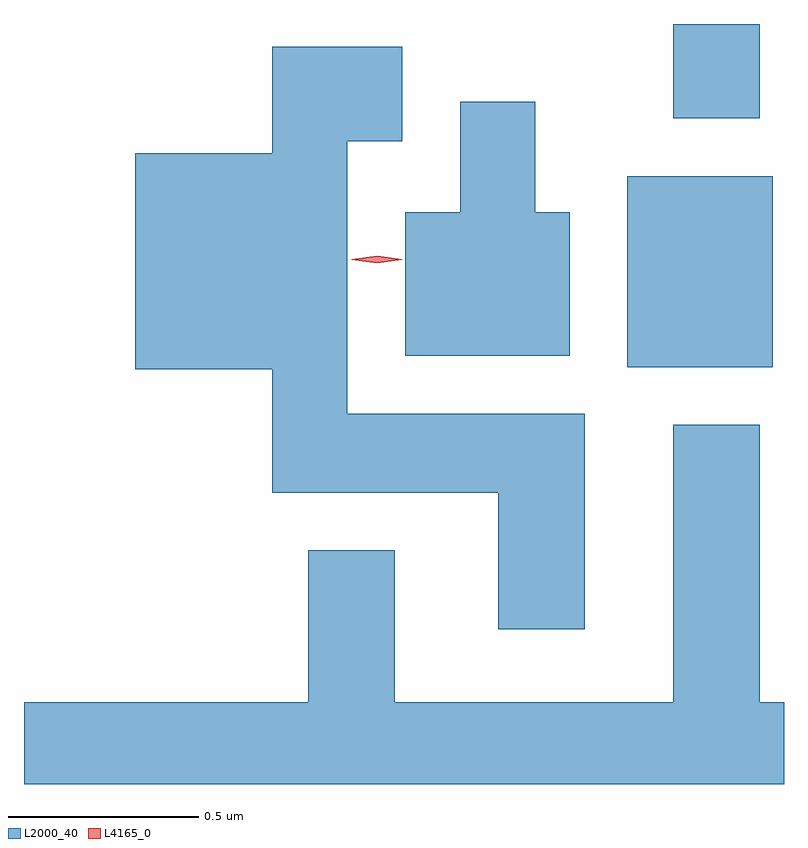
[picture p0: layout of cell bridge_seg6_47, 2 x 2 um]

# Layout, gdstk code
import gdstk
lib = gdstk.Library(unit=1e-6, precision=1e-09)
def R(c, l, rs):  # rectangles x0, y0, x1, y1
    for r in rs: c.add(gdstk.rectangle(r[:2], r[2:], *l))
def P(c, l, *ps):  # polygons
    for p in ps: c.add(gdstk.Polygon(p, *l))
L2000_40 = (2000, 40)
L4165_0 = (4165, 0)

bridge_seg6_47 = lib.new_cell('bridge_seg6_47')
R(bridge_seg6_47, L2000_40, [(1488.291,1644.426,1488.674,1644.929), (1488.411,1645.081,1488.639,1645.329)])
P(bridge_seg6_47, L2000_40, [(1488.179,1644.304),(1487.554,1644.304),(1487.554,1645.021),(1487.699,1645.021),(1487.699,1645.269),(1487.356,1645.269),(1487.356,1644.989),(1486.996,1644.989),(1486.996,1644.421),(1487.356,1644.421),(1487.356,1644.096),(1487.951,1644.096),(1487.951,1643.736),(1488.179,1643.736)],
  [(1488.139,1644.834),(1488.049,1644.834),(1488.049,1645.124),(1487.851,1645.124),(1487.851,1644.834),(1487.706,1644.834),(1487.706,1644.456),(1488.139,1644.456)],
  [(1488.703,1643.544),(1488.639,1643.544),(1488.639,1644.274),(1488.411,1644.274),(1488.411,1643.544),(1487.679,1643.544),(1487.679,1643.944),(1487.451,1643.944),(1487.451,1643.544),(1486.703,1643.544),(1486.703,1643.329),(1488.703,1643.329)])
P(bridge_seg6_47, L4165_0, [(1487.632,1644.699),(1487.566,1644.709),(1487.566,1644.709),(1487.566,1644.71),(1487.632,1644.719),(1487.697,1644.71),(1487.698,1644.709),(1487.697,1644.709)])

lib.write_gds('bridge_seg6_47.gds')
